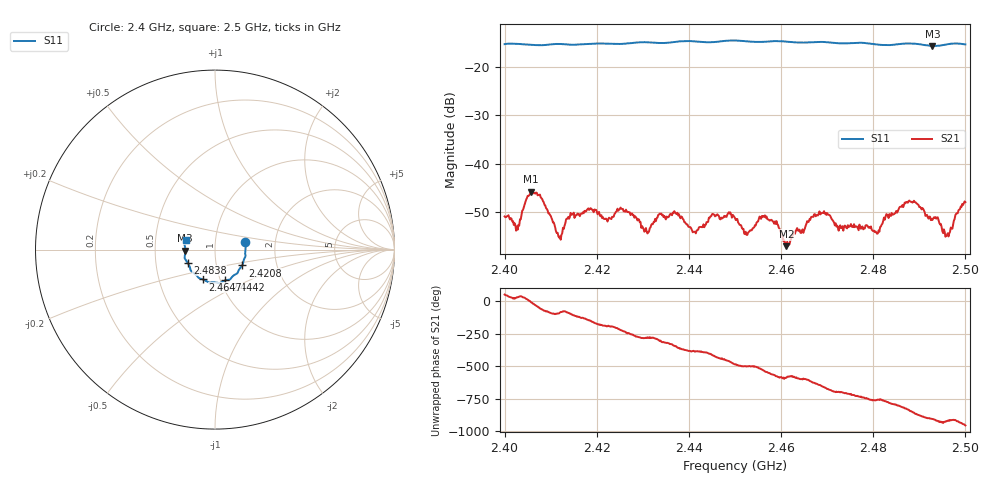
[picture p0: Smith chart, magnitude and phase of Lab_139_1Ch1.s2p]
# Hz S RI R 50
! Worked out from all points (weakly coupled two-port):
!   601 points, 2.4 GHz to 2.5 GHz, reference 50 ohm
!   highest |S21| = -45.81 dB at 2.4057 GHz (marker M1); lowest = -57.1 dB at 2.4612 GHz (marker M2)
!   lowest |S11| = -15.6 dB at 2.4928 GHz (marker M3), VSWR 1.40, Z = 35.8 - j0.409 ohm
!   |S11| at or under -10 dB: start of sweep to end of sweep
!   S12 and S22 are empty: the file has one direction only
!   S11 on the Smith chart (normalised r, x): 2.4 GHz: 1.40, +0.12; 2.4208 GHz: 1.33, -0.24; 2.4442 GHz: 1.05, -0.37; 2.4647 GHz: 0.83, -0.29; 2.4838 GHz: 0.73, -0.11; 2.5 GHz: 0.72, +0.08
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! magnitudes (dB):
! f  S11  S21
! 2.4 GHz  -15.2  -51.0
! 2.4028 GHz  -15.2  -53.7
! 2.4057 GHz  -15.4  -45.8
! 2.4118 GHz  -15.2  -55.4
! 2.4167 GHz  -15.3  -50.4
! 2.4208 GHz  -15.1  -50.9
! 2.4308 GHz  -14.8  -54.1
! 2.4333 GHz  -15.0  -50.7
! 2.4442 GHz  -14.9  -52.1
! 2.45 GHz  -14.5  -51.3
! 2.4525 GHz  -14.6  -54.8
! 2.4563 GHz  -14.8  -51.0
! 2.4612 GHz  -14.7  -57.1
! 2.4647 GHz  -14.9  -53.7
! 2.4667 GHz  -14.8  -51.1
! 2.4808 GHz  -15.3  -54.6
! 2.4833 GHz  -15.5  -51.3
! 2.4838 GHz  -15.4  -50.9
! 2.4883 GHz  -15.1  -48.0
! 2.4928 GHz  -15.6  -51.7
! 2.4962 GHz  -15.3  -54.5
! 2.5 GHz  -15.3  -48.0
